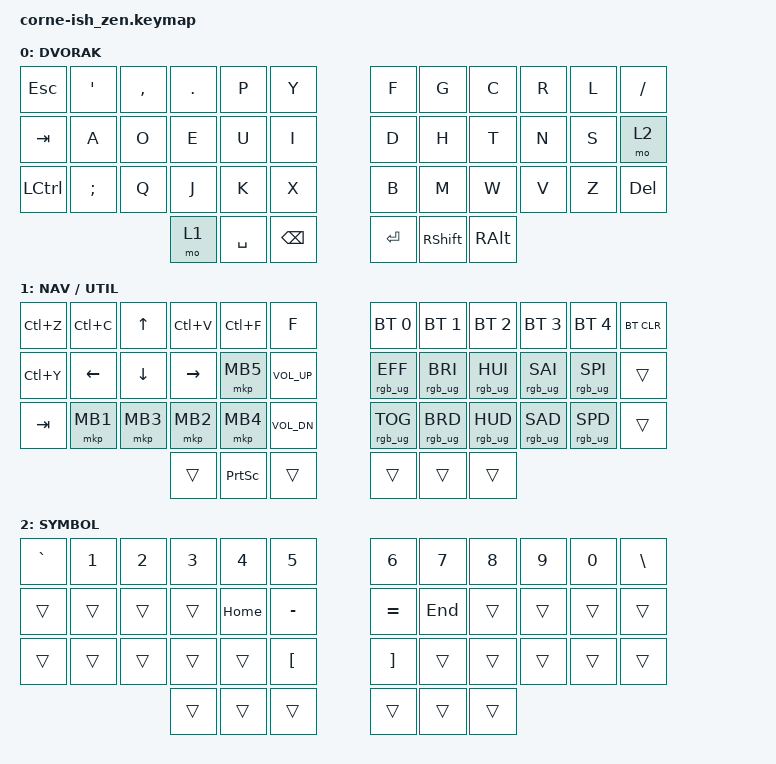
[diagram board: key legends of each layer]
/*
*
* Copyright (c) 2021 Darryl deHaan
* SPDX-License-Identifier: MIT
*
*/

#include <behaviors.dtsi>
#include <dt-bindings/zmk/keys.h>
#include <dt-bindings/zmk/bt.h>

/ {
  chosen {
    zmk,matrix_transform = &default_transform;
    //zmk,matrix_transform = &five_column_transform;
  };
};

/ {
        keymap {
                compatible = "zmk,keymap";



        default_layer {
            display-name = "DVORAK";

            bindings = <
                &kp ESC   &kp SQT   &kp COMMA &kp DOT   &kp P    &kp Y      &kp F  &kp G  &kp C  &kp R  &kp L  &kp SLASH
                &kp TAB   &kp A     &kp O     &kp E     &kp U    &kp I      &kp D  &kp H  &kp T  &kp N  &kp S  &mo 2
                &kp LCTRL &kp SEMI  &kp Q     &kp J     &kp K    &kp X      &kp B  &kp M  &kp W  &kp V  &kp Z  &kp DEL
                                           &mo 1        &kp SPACE &kp BSPC  &kp RET &kp RSHFT &kp RALT
            >;
        };



        lower_layer {
            display-name = "NAV / UTIL";

            bindings = <
                &kp LC(Z)   &kp LC(C)   &kp UP     &kp LC(V)  &kp LC(F)  &kp F
                &bt BT_SEL 0 &bt BT_SEL 1 &bt BT_SEL 2 &bt BT_SEL 3 &bt BT_SEL 4 &bt BT_CLR

                &kp LC(Y)   &kp LEFT    &kp DOWN   &kp RIGHT  &mkp MB5   &kp C_VOL_UP
                &rgb_ug RGB_EFF &rgb_ug RGB_BRI &rgb_ug RGB_HUI &rgb_ug RGB_SAI &rgb_ug RGB_SPI &trans

                &kp TAB     &mkp MB1    &mkp MB3   &mkp MB2   &mkp MB4   &kp C_VOL_DN
                &rgb_ug RGB_TOG &rgb_ug RGB_BRD &rgb_ug RGB_HUD &rgb_ug RGB_SAD &rgb_ug RGB_SPD &trans

                                   &trans        &kp PSCRN    &trans      &trans  &trans  &trans
            >;
        };
                


raise_layer {
            display-name = "SYMBOL";

            bindings = <
                &kp GRAVE  &kp N1  &kp N2  &kp N3  &kp N4  &kp N5   &kp N6   &kp N7  &kp N8  &kp N9  &kp N0  &kp BSLH
                &trans     &trans  &trans  &trans  &kp HOME &kp MINUS &kp EQUAL &kp END &trans &trans &trans &trans
                &trans     &trans  &trans  &trans  &trans   &kp LBKT  &kp RBKT  &trans &trans &trans &trans &trans
                                   &trans  &trans  &trans   &trans   &trans &trans
            >;
                };
        };
};
